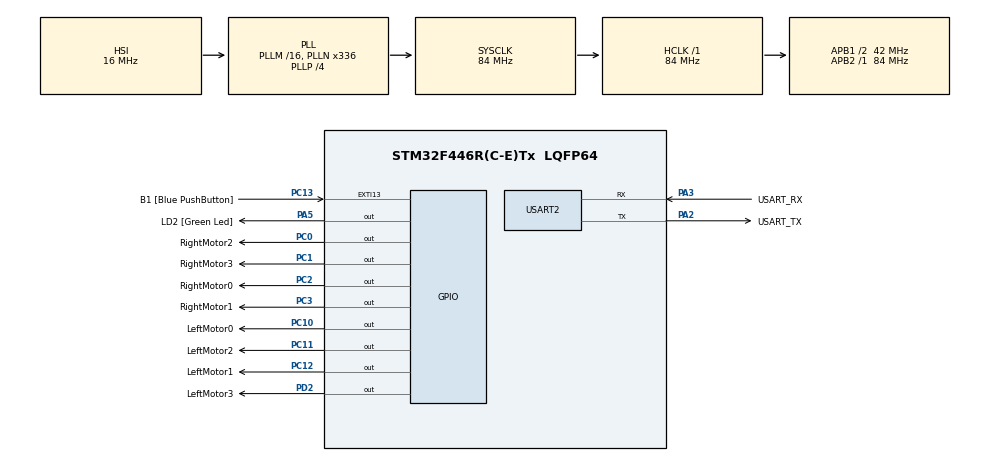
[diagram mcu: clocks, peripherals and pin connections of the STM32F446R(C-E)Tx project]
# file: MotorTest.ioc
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Mcu.Family=STM32F4
Mcu.Name=STM32F446R(C-E)Tx
Mcu.Package=LQFP64
NVIC.PriorityGroup=NVIC_PRIORITYGROUP_0
PA13.GPIO_Label=TMS
PA13.Mode=Serial_Wire
PA13.Signal=SYS_JTMS-SWDIO
PA14.GPIO_Label=TCK
PA14.Mode=Serial_Wire
PA14.Signal=SYS_JTCK-SWCLK
PA2.GPIO_Label=USART_TX
PA2.Mode=Asynchronous
PA2.Signal=USART2_TX
PA3.GPIO_Label=USART_RX
PA3.Mode=Asynchronous
PA3.Signal=USART2_RX
PA5.GPIO_Label=LD2 [Green Led]
PA5.Signal=GPIO_Output
PB3.GPIO_Label=SWO
PB3.Signal=SYS_JTDO-SWO
PC0.GPIO_Label=RightMotor2
PC0.Signal=GPIO_Output
PC1.GPIO_Label=RightMotor3
PC1.Signal=GPIO_Output
PC10.GPIO_Label=LeftMotor0
PC10.Signal=GPIO_Output
PC11.GPIO_Label=LeftMotor2
PC11.Signal=GPIO_Output
PC12.GPIO_Label=LeftMotor1
PC12.Signal=GPIO_Output
PC13.GPIO_Label=B1 [Blue PushButton]
PC13.GPIO_ModeDefaultEXTI=GPIO_MODE_IT_FALLING
PC13.Signal=GPXTI13
PC14-OSC32_IN.Mode=LSE-External-Oscillator
PC14-OSC32_IN.Signal=RCC_OSC32_IN
PC15-OSC32_OUT.Mode=LSE-External-Oscillator
PC15-OSC32_OUT.Signal=RCC_OSC32_OUT
PC2.GPIO_Label=RightMotor0
PC2.Signal=GPIO_Output
PC3.GPIO_Label=RightMotor1
PC3.Signal=GPIO_Output
PD2.GPIO_Label=LeftMotor3
PD2.Signal=GPIO_Output
PH0-OSC_IN.Mode=HSE-External-Oscillator
PH0-OSC_IN.Signal=RCC_OSC_IN
PH1-OSC_OUT.Mode=HSE-External-Oscillator
PH1-OSC_OUT.Signal=RCC_OSC_OUT
ProjectManager.HeapSize=0x200
ProjectManager.StackSize=0x400
ProjectManager.TargetToolchain=STM32CubeIDE
RCC.48MHZClocksFreq_Value=84000000
RCC.AHBFreq_Value=84000000
RCC.APB1CLKDivider=RCC_HCLK_DIV2
RCC.APB1Freq_Value=42000000
RCC.APB1TimFreq_Value=84000000
RCC.APB2Freq_Value=84000000
RCC.APB2TimFreq_Value=84000000
RCC.CortexFreq_Value=84000000
RCC.FLatency-AdvancedSettings=FLASH_LATENCY_2
RCC.HCLKFreq_Value=84000000
RCC.HSE_VALUE=8000000
RCC.HSI_VALUE=16000000
RCC.PLLN=336
RCC.PLLP=RCC_PLLP_DIV4
RCC.SYSCLKFreq_VALUE=84000000
RCC.SYSCLKSource=RCC_SYSCLKSOURCE_PLLCLK
RCC.USBFreq_Value=168000000
RCC.VCOOutputFreq_Value=336000000
USART2.VirtualMode=VM_ASYNC
board=NUCLEO-F446RE

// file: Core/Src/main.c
/* USER CODE BEGIN Header */
/**
  ******************************************************************************
  * @file           : main.c
  * @brief          : Main program body
  ******************************************************************************
  * @attention
  *
  * Copyright (c) 2025 STMicroelectronics.
  * All rights reserved.
  *
  * This software is licensed under terms that can be found in the LICENSE file
  * in the root directory of this software component.
  * If no LICENSE file comes with this software, it is provided AS-IS.
  *
  ******************************************************************************
  */
/* USER CODE END Header */
#include "main.h"

UART_HandleTypeDef huart2;

void SystemClock_Config(void);
static void MX_GPIO_Init(void);
static void MX_USART2_UART_Init(void);

/* USER CODE BEGIN 0 */

void RunRightMotorForward(){
	HAL_GPIO_WritePin(RightMotor0_GPIO_Port, RightMotor0_Pin, GPIO_PIN_SET);
	HAL_GPIO_WritePin(RightMotor1_GPIO_Port, RightMotor1_Pin, GPIO_PIN_RESET);
	HAL_GPIO_WritePin(RightMotor2_GPIO_Port, RightMotor2_Pin, GPIO_PIN_SET);
	HAL_GPIO_WritePin(RightMotor3_GPIO_Port, RightMotor3_Pin, GPIO_PIN_RESET);
}
void RunRightMotorBackward(){
	HAL_GPIO_WritePin(RightMotor0_GPIO_Port, RightMotor0_Pin, GPIO_PIN_RESET);
	HAL_GPIO_WritePin(RightMotor1_GPIO_Port, RightMotor1_Pin, GPIO_PIN_SET);
	HAL_GPIO_WritePin(RightMotor2_GPIO_Port, RightMotor2_Pin, GPIO_PIN_RESET);
	HAL_GPIO_WritePin(RightMotor3_GPIO_Port, RightMotor3_Pin, GPIO_PIN_SET);
}

void RunLeftMotorForward(){
	HAL_GPIO_WritePin(LeftMotor0_GPIO_Port, LeftMotor0_Pin, GPIO_PIN_SET);
	HAL_GPIO_WritePin(LeftMotor1_GPIO_Port, LeftMotor1_Pin, GPIO_PIN_RESET);
	HAL_GPIO_WritePin(LeftMotor2_GPIO_Port, LeftMotor2_Pin, GPIO_PIN_SET);
	HAL_GPIO_WritePin(LeftMotor3_GPIO_Port, LeftMotor3_Pin, GPIO_PIN_RESET);

}
void RunLeftMotorBackward(){
	HAL_GPIO_WritePin(LeftMotor0_GPIO_Port, LeftMotor0_Pin, GPIO_PIN_RESET);
	HAL_GPIO_WritePin(LeftMotor1_GPIO_Port, LeftMotor1_Pin, GPIO_PIN_SET);
	HAL_GPIO_WritePin(LeftMotor2_GPIO_Port, LeftMotor2_Pin, GPIO_PIN_RESET);
	HAL_GPIO_WritePin(LeftMotor3_GPIO_Port, LeftMotor3_Pin, GPIO_PIN_SET);
}

void RunMotorsForward(){
	RunRightMotorForward();
	RunLeftMotorForward();
}
void RunMotorsBackward(){
	RunRightMotorBackward();
	RunLeftMotorBackward();
}

/* USER CODE END 0 */

int main(void)
{

  /* MCU Configuration--------------------------------------------------------*/

  /* Reset of all peripherals, Initializes the Flash interface and the Systick. */
  HAL_Init();

  /* Configure the system clock */
  SystemClock_Config();

  /* Initialize all configured peripherals */
  MX_GPIO_Init();
  MX_USART2_UART_Init();

  /* Infinite loop */
  while (1)
  {

    /* USER CODE BEGIN 3 */

//	Forward/Backward
	RunMotorsForward();
	HAL_Delay(2000);
	RunMotorsBackward();
	HAL_Delay(2000);

	//Right Turn
	RunRightMotorForward();
	HAL_Delay(1000);
	RunRightMotorBackward();
	HAL_Delay(1000);

	//Left Turn
	RunLeftMotorForward();
	HAL_Delay(1000);
	RunLeftMotorBackward();
	HAL_Delay(1000);
  }
  /* USER CODE END 3 */
}

void SystemClock_Config(void)
{
  RCC_OscInitTypeDef RCC_OscInitStruct = {0};
  RCC_ClkInitTypeDef RCC_ClkInitStruct = {0};

  /** Configure the main internal regulator output voltage
  */
  __HAL_RCC_PWR_CLK_ENABLE();
  __HAL_PWR_VOLTAGESCALING_CONFIG(PWR_REGULATOR_VOLTAGE_SCALE3);

  /** Initializes the RCC Oscillators according to the specified parameters
  * in the RCC_OscInitTypeDef structure.
  */
  RCC_OscInitStruct.OscillatorType = RCC_OSCILLATORTYPE_HSI;
  RCC_OscInitStruct.HSIState = RCC_HSI_ON;
  RCC_OscInitStruct.HSICalibrationValue = RCC_HSICALIBRATION_DEFAULT;
  RCC_OscInitStruct.PLL.PLLState = RCC_PLL_ON;
  RCC_OscInitStruct.PLL.PLLSource = RCC_PLLSOURCE_HSI;
  RCC_OscInitStruct.PLL.PLLM = 16;
  RCC_OscInitStruct.PLL.PLLN = 336;
  RCC_OscInitStruct.PLL.PLLP = RCC_PLLP_DIV4;
  RCC_OscInitStruct.PLL.PLLQ = 2;
  RCC_OscInitStruct.PLL.PLLR = 2;
  if (HAL_RCC_OscConfig(&RCC_OscInitStruct) != HAL_OK)
  {
    Error_Handler();
  }

  /** Initializes the CPU, AHB and APB buses clocks
  */
  RCC_ClkInitStruct.ClockType = RCC_CLOCKTYPE_HCLK|RCC_CLOCKTYPE_SYSCLK
                              |RCC_CLOCKTYPE_PCLK1|RCC_CLOCKTYPE_PCLK2;
  RCC_ClkInitStruct.SYSCLKSource = RCC_SYSCLKSOURCE_PLLCLK;
  RCC_ClkInitStruct.AHBCLKDivider = RCC_SYSCLK_DIV1;
  RCC_ClkInitStruct.APB1CLKDivider = RCC_HCLK_DIV2;
  RCC_ClkInitStruct.APB2CLKDivider = RCC_HCLK_DIV1;

  if (HAL_RCC_ClockConfig(&RCC_ClkInitStruct, FLASH_LATENCY_2) != HAL_OK)
  {
    Error_Handler();
  }
}

static void MX_USART2_UART_Init(void)
{

  huart2.Instance = USART2;
  huart2.Init.BaudRate = 115200;
  huart2.Init.WordLength = UART_WORDLENGTH_8B;
  huart2.Init.StopBits = UART_STOPBITS_1;
  huart2.Init.Parity = UART_PARITY_NONE;
  huart2.Init.Mode = UART_MODE_TX_RX;
  huart2.Init.HwFlowCtl = UART_HWCONTROL_NONE;
  huart2.Init.OverSampling = UART_OVERSAMPLING_16;
  if (HAL_UART_Init(&huart2) != HAL_OK)
  {
    Error_Handler();
  }

}

static void MX_GPIO_Init(void)
{
  GPIO_InitTypeDef GPIO_InitStruct = {0};

  /* GPIO Ports Clock Enable */
  __HAL_RCC_GPIOC_CLK_ENABLE();
  __HAL_RCC_GPIOH_CLK_ENABLE();
  __HAL_RCC_GPIOA_CLK_ENABLE();
  __HAL_RCC_GPIOD_CLK_ENABLE();
  __HAL_RCC_GPIOB_CLK_ENABLE();

  /*Configure GPIO pin Output Level */
  HAL_GPIO_WritePin(GPIOC, RightMotor2_Pin|RightMotor3_Pin|RightMotor0_Pin|RightMotor1_Pin
                          |LeftMotor0_Pin|LeftMotor2_Pin|LeftMotor1_Pin, GPIO_PIN_RESET);

  /*Configure GPIO pin Output Level */
  HAL_GPIO_WritePin(LD2_GPIO_Port, LD2_Pin, GPIO_PIN_RESET);

  /*Configure GPIO pin Output Level */
  HAL_GPIO_WritePin(LeftMotor3_GPIO_Port, LeftMotor3_Pin, GPIO_PIN_RESET);

  /*Configure GPIO pin : B1_Pin */
  GPIO_InitStruct.Pin = B1_Pin;
  GPIO_InitStruct.Mode = GPIO_MODE_IT_FALLING;
  GPIO_InitStruct.Pull = GPIO_NOPULL;
  HAL_GPIO_Init(B1_GPIO_Port, &GPIO_InitStruct);

  /*Configure GPIO pins : RightMotor2_Pin RightMotor3_Pin RightMotor0_Pin RightMotor1_Pin
                           LeftMotor0_Pin LeftMotor2_Pin LeftMotor1_Pin */
  GPIO_InitStruct.Pin = RightMotor2_Pin|RightMotor3_Pin|RightMotor0_Pin|RightMotor1_Pin
                          |LeftMotor0_Pin|LeftMotor2_Pin|LeftMotor1_Pin;
  GPIO_InitStruct.Mode = GPIO_MODE_OUTPUT_PP;
  GPIO_InitStruct.Pull = GPIO_NOPULL;
  GPIO_InitStruct.Speed = GPIO_SPEED_FREQ_LOW;
  HAL_GPIO_Init(GPIOC, &GPIO_InitStruct);

  /*Configure GPIO pin : LD2_Pin */
  GPIO_InitStruct.Pin = LD2_Pin;
  GPIO_InitStruct.Mode = GPIO_MODE_OUTPUT_PP;
  GPIO_InitStruct.Pull = GPIO_NOPULL;
  GPIO_InitStruct.Speed = GPIO_SPEED_FREQ_LOW;
  HAL_GPIO_Init(LD2_GPIO_Port, &GPIO_InitStruct);

  /*Configure GPIO pin : LeftMotor3_Pin */
  GPIO_InitStruct.Pin = LeftMotor3_Pin;
  GPIO_InitStruct.Mode = GPIO_MODE_OUTPUT_PP;
  GPIO_InitStruct.Pull = GPIO_NOPULL;
  GPIO_InitStruct.Speed = GPIO_SPEED_FREQ_LOW;
  HAL_GPIO_Init(LeftMotor3_GPIO_Port, &GPIO_InitStruct);

}

void Error_Handler(void)
{
  __disable_irq();
  while (1)
  {
  }
}
